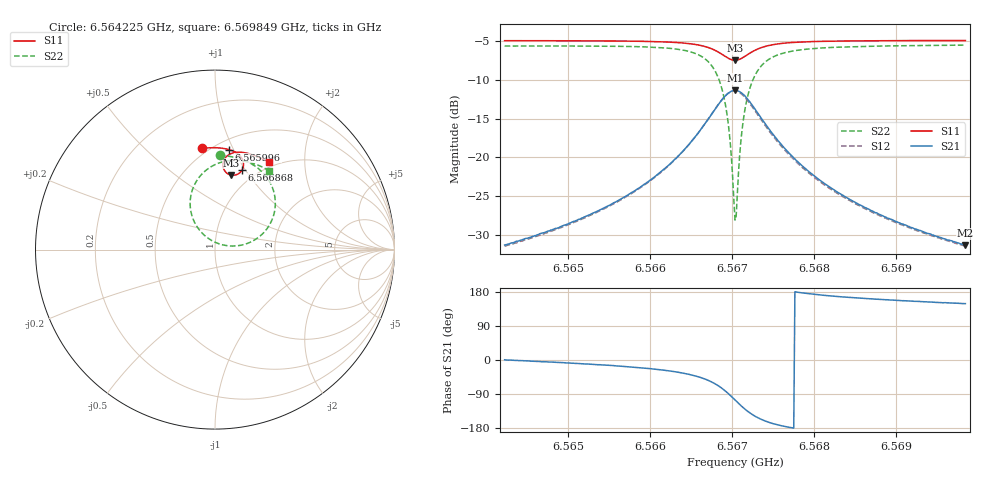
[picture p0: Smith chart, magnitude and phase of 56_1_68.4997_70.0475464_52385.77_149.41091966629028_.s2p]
#  HZ  S  RI  R  50.00
! Rohde & Schwarz Vector Network Analyzer
! Rohde-Schwarz,ZNB20-2Port,1311601062101988,3.16
! Created: UTC 3/20/2024, 5:06:11 PM
! freq[Hz]  re:S11  im:S11  re:S21  im:S21  re:S12  im:S12  re:S22  im:S22
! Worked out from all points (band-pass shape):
!   401 points, 6.564225 GHz to 6.569849 GHz, reference 50 ohm
!   highest |S21| = -11.33 dB at 6.567037 GHz (marker M1); lowest = -31.4 dB at 6.569849 GHz (marker M2)
!   |S21| within 3 dB of the highest: 6.566757 GHz to 6.567318 GHz (561.6 kHz wide, 0.00855 % of centre)
!   lowest |S11| = -7.4 dB at 6.567037 GHz (marker M3), VSWR 2.48, Z = 40.9 + j41.4 ohm
!   |S11| at or under -10 dB: nowhere
!   |S22| runs from -28.1 to -5.5 dB; largest |S21 - S12| = 0.012
!   S11 on the Smith chart (normalised r, x): 6.564225 GHz: 0.46, +0.77; 6.565996 GHz: 0.59, +0.96; 6.566868 GHz: 0.85, +0.97; 6.569849 GHz: 0.93, +1.34
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6.5642245e9  -0.073 0.5642  0.0271 0.000271  0.0266 -0.000361  0.0261 0.5247
6.5651666e9  0.00355 0.5679  0.0399 -0.0069  0.0392 -0.00741  0.1137 0.5127
6.5659961e9  0.0795 0.5567  0.0653 -0.0275  0.0642 -0.0281  0.217 0.4697
6.5661086e9  0.0913 0.5527  0.0711 -0.0337  0.07 -0.0345  0.2352 0.4569
6.5664179e9  0.1261 0.5341  0.0916 -0.0647  0.0903 -0.066  0.2939 0.3952
6.5666288e9  0.1503 0.5066  0.1049 -0.1126  0.1027 -0.1147  0.3321 0.3031
6.5667694e9  0.1588 0.4737  0.0983 -0.17  0.0941 -0.1731  0.3274 0.1937
6.5668678e9  0.1508 0.4432  0.0672 -0.2223  0.0599 -0.2251  0.2721 0.0952
6.56691e9  0.1408 0.4303  0.0417 -0.2435  0.033 -0.2454  0.226 0.057
6.5669522e9  0.1265 0.4201  0.00868 -0.2594  -0.00168 -0.2596  0.1658 0.0293
6.5669803e9  0.1148 0.4159  -0.017 -0.2652  -0.028 -0.2637  0.1192 0.0208
6.5670225e9  0.0956 0.4143  -0.0583 -0.2645  -0.0694 -0.26  0.046 0.0257
6.5670366e9  0.0891 0.4153  -0.072 -0.2615  -0.0829 -0.256  0.0222 0.0323
6.5670647e9  0.0766 0.4193  -0.0981 -0.2515  -0.108 -0.2442  -0.0224 0.0529
6.5671069e9  0.0611 0.4303  -0.1315 -0.2281  -0.1394 -0.2188  -0.0776 0.0981
6.567149e9  0.0503 0.4449  -0.1555 -0.1987  -0.1607 -0.1881  -0.1145 0.1531
6.5672053e9  0.0441 0.4658  -0.1721 -0.1569  -0.1743 -0.1465  -0.1367 0.2277
6.5672756e9  0.0461 0.4895  -0.1748 -0.1109  -0.1741 -0.1019  -0.133 0.3079
6.5675287e9  0.0846 0.5327  -0.1326 -0.0246  -0.1298 -0.0207  -0.0368 0.4521
6.5679786e9  0.1453 0.5422  -0.0772 0.00834  -0.0754 0.00953  0.0911 0.497
6.5689206e9  0.2313 0.5203  -0.0373 0.0148  -0.0365 0.015  0.2208 0.4777
6.5698486e9  0.299 0.4863  -0.023 0.014  -0.0227 0.0141  0.2998 0.4399
